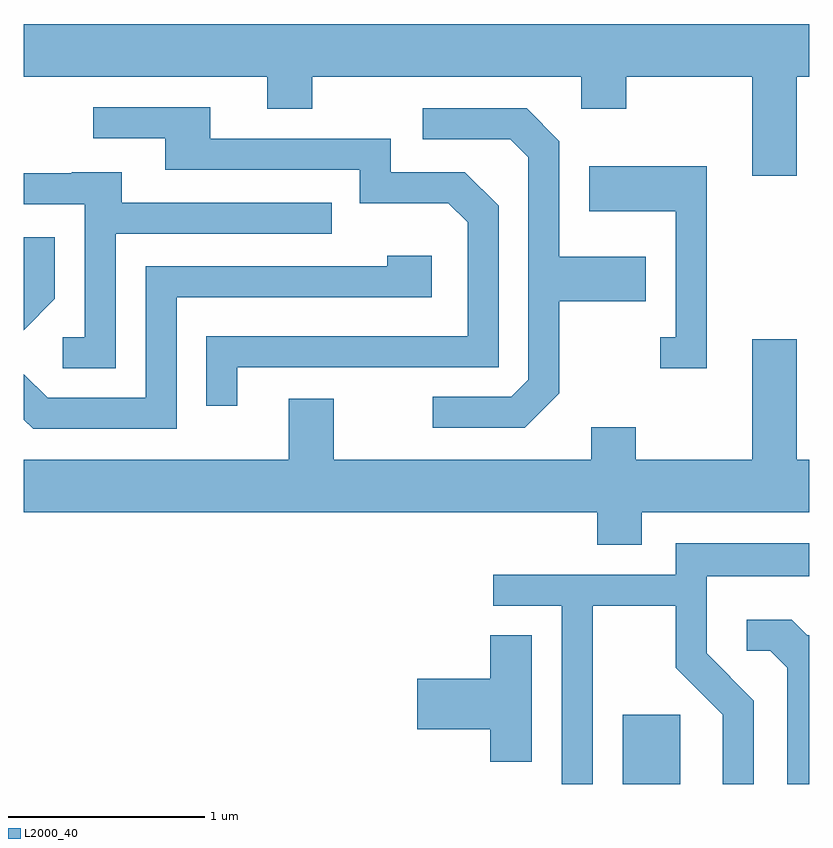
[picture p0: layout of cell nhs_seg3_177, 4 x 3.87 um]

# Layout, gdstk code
import gdstk
lib = gdstk.Library(unit=1e-6, precision=1e-09)
def R(c, l, rs):  # rectangles x0, y0, x1, y1
    for r in rs: c.add(gdstk.rectangle(r[:2], r[2:], *l))
def P(c, l, *ps):  # polygons
    for p in ps: c.add(gdstk.Polygon(p, *l))
L2000_40 = (2000, 40)

nhs_seg3_177 = lib.new_cell('nhs_seg3_177')
R(nhs_seg3_177, L2000_40, [(192.661,1197.892,192.954,1198.244)])
P(nhs_seg3_177, L2000_40, [(193.549,1201.496),(193.611,1201.496),(193.611,1201.764),(189.611,1201.764),(189.611,1201.496),(190.851,1201.496),(190.851,1201.331),(191.079,1201.331),(191.079,1201.496),(192.451,1201.496),(192.451,1201.331),(192.679,1201.331),(192.679,1201.496),(193.321,1201.496),(193.321,1200.991),(193.549,1200.991)],
  [(190.699,1200.016),(192.029,1200.016),(192.029,1200.837),(191.857,1201.009),(191.479,1201.009),(191.479,1201.179),(190.559,1201.179),(190.559,1201.339),(189.963,1201.339),(189.963,1201.181),(190.331,1201.181),(190.331,1201.021),(191.321,1201.021),(191.321,1200.851),(191.774,1200.851),(191.871,1200.754),(191.871,1200.174),(190.541,1200.174),(190.541,1199.818),(190.699,1199.818)],
  [(192.339,1199.884),(192.339,1200.351),(192.779,1200.351),(192.779,1200.579),(192.339,1200.579),(192.339,1201.167),(192.172,1201.334),(191.643,1201.334),(191.643,1201.176),(192.089,1201.176),(192.181,1201.084),(192.181,1199.952),(192.094,1199.864),(191.693,1199.864),(191.693,1199.706),(192.162,1199.706)],
  [(193.089,1201.039),(192.491,1201.039),(192.491,1200.811),(192.931,1200.811),(192.931,1200.169),(192.853,1200.169),(192.853,1200.011),(193.089,1200.011)],
  [(190.079,1200.696),(191.178,1200.696),(191.178,1200.854),(190.109,1200.854),(190.109,1201.009),(189.855,1201.009),(189.855,1201.004),(189.611,1201.004),(189.611,1200.846),(189.921,1200.846),(189.921,1200.169),(189.808,1200.169),(189.808,1200.011),(190.079,1200.011)],
  [(189.769,1200.364),(189.769,1200.678),(189.611,1200.678),(189.611,1200.205)],
  [(190.389,1200.371),(191.689,1200.371),(191.689,1200.584),(191.461,1200.584),(191.461,1200.529),(190.231,1200.529),(190.231,1199.859),(189.732,1199.859),(189.611,1199.98),(189.611,1199.749),(189.659,1199.701),(190.389,1199.701)],
  [(192.759,1199.276),(193.611,1199.276),(193.611,1199.544),(193.549,1199.544),(193.549,1200.159),(193.321,1200.159),(193.321,1199.544),(192.729,1199.544),(192.729,1199.709),(192.501,1199.709),(192.501,1199.544),(191.189,1199.544),(191.189,1199.854),(190.961,1199.854),(190.961,1199.544),(189.611,1199.544),(189.611,1199.276),(192.531,1199.276),(192.531,1199.111),(192.759,1199.111)],
  [(192.509,1198.801),(192.931,1198.801),(192.931,1198.484),(193.171,1198.244),(193.171,1197.892),(193.329,1197.892),(193.329,1198.317),(193.089,1198.557),(193.089,1198.951),(193.611,1198.951),(193.611,1199.119),(192.931,1199.119),(192.931,1198.959),(192.003,1198.959),(192.003,1198.801),(192.351,1198.801),(192.351,1197.892),(192.509,1197.892)],
  [(193.611,1198.649),(193.602,1198.649),(193.522,1198.729),(193.293,1198.729),(193.293,1198.571),(193.414,1198.571),(193.501,1198.484),(193.501,1197.892),(193.611,1197.892)],
  [(192.199,1198.649),(191.986,1198.649),(191.986,1198.429),(191.616,1198.429),(191.616,1198.171),(191.986,1198.171),(191.986,1198.006),(192.199,1198.006)])

lib.write_gds('nhs_seg3_177.gds')
